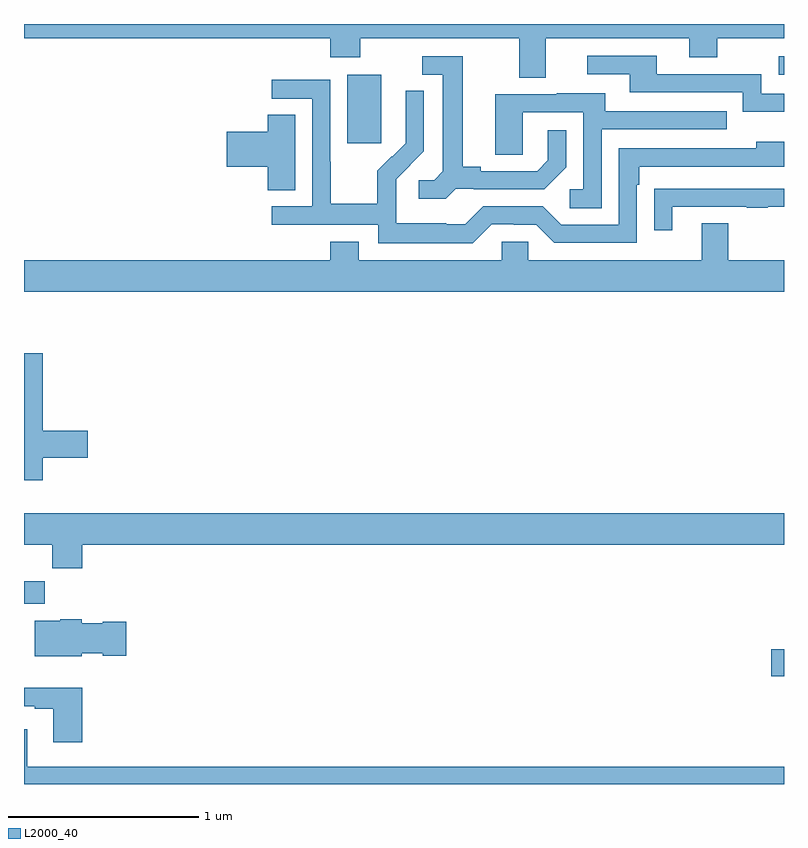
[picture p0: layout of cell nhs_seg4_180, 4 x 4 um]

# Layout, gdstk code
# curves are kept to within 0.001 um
import gdstk
lib = gdstk.Library(unit=1e-6, precision=1e-09)
def R(c, l, rs):  # rectangles x0, y0, x1, y1
    for r in rs: c.add(gdstk.rectangle(r[:2], r[2:], *l))
def P(c, l, *ps):  # polygons
    for p in ps: c.add(gdstk.Polygon(p, *l))
L2000_40 = (2000, 40)

nhs_seg4_180 = lib.new_cell('nhs_seg4_180')
R(nhs_seg4_180, L2000_40, [(122.934,789.466,123,789.608), (119,789.848,119.108,789.967), (120.701,792.273,120.88,792.634), (122.973,792.633,123,792.729)])
P(nhs_seg4_180, L2000_40, [(121.747,792.824),(122.501,792.824),(122.501,792.725),(122.649,792.725),(122.649,792.824),(123,792.824),(123,792.9),(119,792.9),(119,792.824),(120.611,792.824),(120.611,792.725),(120.771,792.725),(120.771,792.824),(121.607,792.824),(121.607,792.616),(121.747,792.616)],
  [(123,792.534),(122.88,792.534),(122.88,792.636),(122.329,792.636),(122.329,792.732),(121.965,792.732),(121.965,792.636),(122.189,792.636),(122.189,792.54),(122.784,792.54),(122.784,792.437),(123,792.437)],
  [(121.272,792.033),(121.366,792.033),(121.366,792.03),(121.738,792.03),(121.854,792.146),(121.854,792.34),(121.757,792.34),(121.757,792.183),(121.7,792.126),(121.405,792.126),(121.405,792.149),(121.309,792.149),(121.309,792.729),(121.095,792.729),(121.095,792.633),(121.205,792.633),(121.205,792.125),(121.158,792.078),(121.077,792.078),(121.077,791.981),(121.22,791.981)],
  [(121.461,791.847),(121.577,791.847),(121.577,791.844),(121.695,791.844),(121.791,791.748),(122.226,791.748),(122.226,792.053),(122.239,792.053),(122.239,792.15),(123,792.15),(123,792.28),(122.855,792.28),(122.855,792.246),(122.13,792.246),(122.13,791.844),(121.827,791.844),(121.731,791.94),(121.416,791.94),(121.323,791.847),(121.223,791.847),(121.223,791.851),(120.96,791.851),(120.96,791.985),(120.958,791.985),(120.958,792.082),(121.104,792.23),(121.104,792.548),(121.008,792.548),(121.008,792.394),(121.01,792.394),(121.01,792.272),(120.939,792.201),(120.936,792.204),(120.859,792.127),(120.859,791.953),(120.615,791.953),(120.615,792.176),(120.612,792.176),(120.612,792.606),(120.303,792.606),(120.303,792.507),(120.516,792.507),(120.516,791.94),(120.303,791.94),(120.303,791.844),(120.864,791.844),(120.864,791.747),(121.361,791.747)],
  [(122.04,792.345),(122.699,792.345),(122.699,792.441),(122.059,792.441),(122.059,792.535),(121.805,792.535),(121.805,792.531),(121.481,792.531),(121.481,792.211),(121.626,792.211),(121.626,792.435),(121.944,792.435),(121.944,792.03),(121.872,792.03),(121.872,791.929),(122.04,791.929)],
  [(120.427,792.422),(120.284,792.422),(120.284,792.332),(120.066,792.332),(120.066,792.149),(120.284,792.149),(120.284,792.025),(120.427,792.025)],
  [(122.413,791.937),(122.803,791.937),(122.803,791.932),(122.915,791.932),(122.915,791.937),(123,791.937),(123,792.033),(122.419,792.033),(122.419,792.032),(122.317,792.032),(122.317,791.814),(122.413,791.814)],
  [(123,791.656),(122.707,791.656),(122.707,791.851),(122.567,791.851),(122.567,791.656),(121.653,791.656),(121.653,791.754),(121.515,791.754),(121.515,791.656),(120.763,791.656),(120.763,791.755),(120.611,791.755),(120.611,791.656),(119,791.656),(119,791.492),(123,791.492)],
  [(119.099,790.618),(119.335,790.618),(119.335,790.76),(119.099,790.76),(119.099,791.167),(119,791.167),(119,790.5),(119.099,790.5)],
  [(119.306,790.16),(123,790.16),(123,790.324),(119,790.324),(119,790.16),(119.149,790.16),(119.149,790.036),(119.306,790.036)],
  [(119.304,789.587),(119.415,789.587),(119.415,789.575),(119.539,789.575),(119.539,789.753),(119.415,789.753),(119.415,789.745),(119.304,789.745),(119.304,789.766),(119.19,789.766),(119.19,789.76),(119.057,789.76),(119.057,789.572),(119.304,789.572)],
  [(119.306,789.406),(119,789.406),(119,789.309),(119.057,789.309),(119.057,789.297),(119.153,789.297),(119.153,789.12),(119.306,789.12)],
  [(123,788.992),(119.017,788.992),(119.017,789.187),(119,789.187),(119,788.9),(123,788.9)])

lib.write_gds('nhs_seg4_180.gds')
